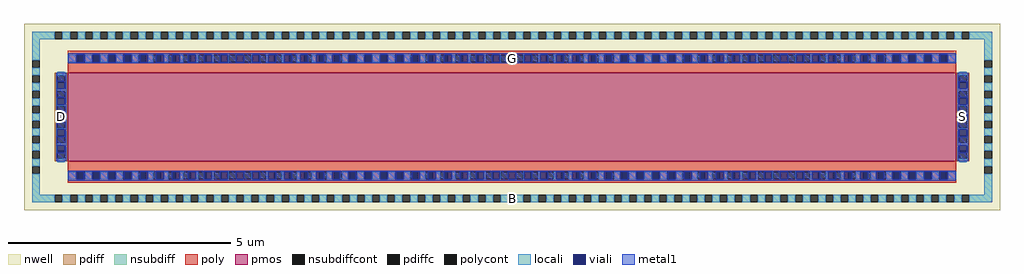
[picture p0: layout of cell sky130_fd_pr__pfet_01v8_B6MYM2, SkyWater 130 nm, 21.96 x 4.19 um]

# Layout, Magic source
magic
tech sky130A
magscale 1 2
<< nwell >>
rect -2196 -419 2196 419
<< pmos >>
rect -2000 -200 2000 200
<< pdiff >>
rect -2058 187 -2000 200
rect -2058 153 -2046 187
rect -2012 153 -2000 187
rect -2058 119 -2000 153
rect -2058 85 -2046 119
rect -2012 85 -2000 119
rect -2058 51 -2000 85
rect -2058 17 -2046 51
rect -2012 17 -2000 51
rect -2058 -17 -2000 17
rect -2058 -51 -2046 -17
rect -2012 -51 -2000 -17
rect -2058 -85 -2000 -51
rect -2058 -119 -2046 -85
rect -2012 -119 -2000 -85
rect -2058 -153 -2000 -119
rect -2058 -187 -2046 -153
rect -2012 -187 -2000 -153
rect -2058 -200 -2000 -187
rect 2000 187 2058 200
rect 2000 153 2012 187
rect 2046 153 2058 187
rect 2000 119 2058 153
rect 2000 85 2012 119
rect 2046 85 2058 119
rect 2000 51 2058 85
rect 2000 17 2012 51
rect 2046 17 2058 51
rect 2000 -17 2058 17
rect 2000 -51 2012 -17
rect 2046 -51 2058 -17
rect 2000 -85 2058 -51
rect 2000 -119 2012 -85
rect 2046 -119 2058 -85
rect 2000 -153 2058 -119
rect 2000 -187 2012 -153
rect 2046 -187 2058 -153
rect 2000 -200 2058 -187
<< pdiffc >>
rect -2046 153 -2012 187
rect -2046 85 -2012 119
rect -2046 17 -2012 51
rect -2046 -51 -2012 -17
rect -2046 -119 -2012 -85
rect -2046 -187 -2012 -153
rect 2012 153 2046 187
rect 2012 85 2046 119
rect 2012 17 2046 51
rect 2012 -51 2046 -17
rect 2012 -119 2046 -85
rect 2012 -187 2046 -153
<< nsubdiff >>
rect -2160 349 -2057 383
rect -2023 349 -1989 383
rect -1955 349 -1921 383
rect -1887 349 -1853 383
rect -1819 349 -1785 383
rect -1751 349 -1717 383
rect -1683 349 -1649 383
rect -1615 349 -1581 383
rect -1547 349 -1513 383
rect -1479 349 -1445 383
rect -1411 349 -1377 383
rect -1343 349 -1309 383
rect -1275 349 -1241 383
rect -1207 349 -1173 383
rect -1139 349 -1105 383
rect -1071 349 -1037 383
rect -1003 349 -969 383
rect -935 349 -901 383
rect -867 349 -833 383
rect -799 349 -765 383
rect -731 349 -697 383
rect -663 349 -629 383
rect -595 349 -561 383
rect -527 349 -493 383
rect -459 349 -425 383
rect -391 349 -357 383
rect -323 349 -289 383
rect -255 349 -221 383
rect -187 349 -153 383
rect -119 349 -85 383
rect -51 349 -17 383
rect 17 349 51 383
rect 85 349 119 383
rect 153 349 187 383
rect 221 349 255 383
rect 289 349 323 383
rect 357 349 391 383
rect 425 349 459 383
rect 493 349 527 383
rect 561 349 595 383
rect 629 349 663 383
rect 697 349 731 383
rect 765 349 799 383
rect 833 349 867 383
rect 901 349 935 383
rect 969 349 1003 383
rect 1037 349 1071 383
rect 1105 349 1139 383
rect 1173 349 1207 383
rect 1241 349 1275 383
rect 1309 349 1343 383
rect 1377 349 1411 383
rect 1445 349 1479 383
rect 1513 349 1547 383
rect 1581 349 1615 383
rect 1649 349 1683 383
rect 1717 349 1751 383
rect 1785 349 1819 383
rect 1853 349 1887 383
rect 1921 349 1955 383
rect 1989 349 2023 383
rect 2057 349 2160 383
rect -2160 255 -2126 349
rect -2160 187 -2126 221
rect 2126 255 2160 349
rect -2160 119 -2126 153
rect -2160 51 -2126 85
rect -2160 -17 -2126 17
rect -2160 -85 -2126 -51
rect -2160 -153 -2126 -119
rect -2160 -221 -2126 -187
rect 2126 187 2160 221
rect 2126 119 2160 153
rect 2126 51 2160 85
rect 2126 -17 2160 17
rect 2126 -85 2160 -51
rect 2126 -153 2160 -119
rect -2160 -349 -2126 -255
rect 2126 -221 2160 -187
rect 2126 -349 2160 -255
rect -2160 -383 -2057 -349
rect -2023 -383 -1989 -349
rect -1955 -383 -1921 -349
rect -1887 -383 -1853 -349
rect -1819 -383 -1785 -349
rect -1751 -383 -1717 -349
rect -1683 -383 -1649 -349
rect -1615 -383 -1581 -349
rect -1547 -383 -1513 -349
rect -1479 -383 -1445 -349
rect -1411 -383 -1377 -349
rect -1343 -383 -1309 -349
rect -1275 -383 -1241 -349
rect -1207 -383 -1173 -349
rect -1139 -383 -1105 -349
rect -1071 -383 -1037 -349
rect -1003 -383 -969 -349
rect -935 -383 -901 -349
rect -867 -383 -833 -349
rect -799 -383 -765 -349
rect -731 -383 -697 -349
rect -663 -383 -629 -349
rect -595 -383 -561 -349
rect -527 -383 -493 -349
rect -459 -383 -425 -349
rect -391 -383 -357 -349
rect -323 -383 -289 -349
rect -255 -383 -221 -349
rect -187 -383 -153 -349
rect -119 -383 -85 -349
rect -51 -383 -17 -349
rect 17 -383 51 -349
rect 85 -383 119 -349
rect 153 -383 187 -349
rect 221 -383 255 -349
rect 289 -383 323 -349
rect 357 -383 391 -349
rect 425 -383 459 -349
rect 493 -383 527 -349
rect 561 -383 595 -349
rect 629 -383 663 -349
rect 697 -383 731 -349
rect 765 -383 799 -349
rect 833 -383 867 -349
rect 901 -383 935 -349
rect 969 -383 1003 -349
rect 1037 -383 1071 -349
rect 1105 -383 1139 -349
rect 1173 -383 1207 -349
rect 1241 -383 1275 -349
rect 1309 -383 1343 -349
rect 1377 -383 1411 -349
rect 1445 -383 1479 -349
rect 1513 -383 1547 -349
rect 1581 -383 1615 -349
rect 1649 -383 1683 -349
rect 1717 -383 1751 -349
rect 1785 -383 1819 -349
rect 1853 -383 1887 -349
rect 1921 -383 1955 -349
rect 1989 -383 2023 -349
rect 2057 -383 2160 -349
<< nsubdiffcont >>
rect -2057 349 -2023 383
rect -1989 349 -1955 383
rect -1921 349 -1887 383
rect -1853 349 -1819 383
rect -1785 349 -1751 383
rect -1717 349 -1683 383
rect -1649 349 -1615 383
rect -1581 349 -1547 383
rect -1513 349 -1479 383
rect -1445 349 -1411 383
rect -1377 349 -1343 383
rect -1309 349 -1275 383
rect -1241 349 -1207 383
rect -1173 349 -1139 383
rect -1105 349 -1071 383
rect -1037 349 -1003 383
rect -969 349 -935 383
rect -901 349 -867 383
rect -833 349 -799 383
rect -765 349 -731 383
rect -697 349 -663 383
rect -629 349 -595 383
rect -561 349 -527 383
rect -493 349 -459 383
rect -425 349 -391 383
rect -357 349 -323 383
rect -289 349 -255 383
rect -221 349 -187 383
rect -153 349 -119 383
rect -85 349 -51 383
rect -17 349 17 383
rect 51 349 85 383
rect 119 349 153 383
rect 187 349 221 383
rect 255 349 289 383
rect 323 349 357 383
rect 391 349 425 383
rect 459 349 493 383
rect 527 349 561 383
rect 595 349 629 383
rect 663 349 697 383
rect 731 349 765 383
rect 799 349 833 383
rect 867 349 901 383
rect 935 349 969 383
rect 1003 349 1037 383
rect 1071 349 1105 383
rect 1139 349 1173 383
rect 1207 349 1241 383
rect 1275 349 1309 383
rect 1343 349 1377 383
rect 1411 349 1445 383
rect 1479 349 1513 383
rect 1547 349 1581 383
rect 1615 349 1649 383
rect 1683 349 1717 383
rect 1751 349 1785 383
rect 1819 349 1853 383
rect 1887 349 1921 383
rect 1955 349 1989 383
rect 2023 349 2057 383
rect -2160 221 -2126 255
rect 2126 221 2160 255
rect -2160 153 -2126 187
rect -2160 85 -2126 119
rect -2160 17 -2126 51
rect -2160 -51 -2126 -17
rect -2160 -119 -2126 -85
rect -2160 -187 -2126 -153
rect 2126 153 2160 187
rect 2126 85 2160 119
rect 2126 17 2160 51
rect 2126 -51 2160 -17
rect 2126 -119 2160 -85
rect 2126 -187 2160 -153
rect -2160 -255 -2126 -221
rect 2126 -255 2160 -221
rect -2057 -383 -2023 -349
rect -1989 -383 -1955 -349
rect -1921 -383 -1887 -349
rect -1853 -383 -1819 -349
rect -1785 -383 -1751 -349
rect -1717 -383 -1683 -349
rect -1649 -383 -1615 -349
rect -1581 -383 -1547 -349
rect -1513 -383 -1479 -349
rect -1445 -383 -1411 -349
rect -1377 -383 -1343 -349
rect -1309 -383 -1275 -349
rect -1241 -383 -1207 -349
rect -1173 -383 -1139 -349
rect -1105 -383 -1071 -349
rect -1037 -383 -1003 -349
rect -969 -383 -935 -349
rect -901 -383 -867 -349
rect -833 -383 -799 -349
rect -765 -383 -731 -349
rect -697 -383 -663 -349
rect -629 -383 -595 -349
rect -561 -383 -527 -349
rect -493 -383 -459 -349
rect -425 -383 -391 -349
rect -357 -383 -323 -349
rect -289 -383 -255 -349
rect -221 -383 -187 -349
rect -153 -383 -119 -349
rect -85 -383 -51 -349
rect -17 -383 17 -349
rect 51 -383 85 -349
rect 119 -383 153 -349
rect 187 -383 221 -349
rect 255 -383 289 -349
rect 323 -383 357 -349
rect 391 -383 425 -349
rect 459 -383 493 -349
rect 527 -383 561 -349
rect 595 -383 629 -349
rect 663 -383 697 -349
rect 731 -383 765 -349
rect 799 -383 833 -349
rect 867 -383 901 -349
rect 935 -383 969 -349
rect 1003 -383 1037 -349
rect 1071 -383 1105 -349
rect 1139 -383 1173 -349
rect 1207 -383 1241 -349
rect 1275 -383 1309 -349
rect 1343 -383 1377 -349
rect 1411 -383 1445 -349
rect 1479 -383 1513 -349
rect 1547 -383 1581 -349
rect 1615 -383 1649 -349
rect 1683 -383 1717 -349
rect 1751 -383 1785 -349
rect 1819 -383 1853 -349
rect 1887 -383 1921 -349
rect 1955 -383 1989 -349
rect 2023 -383 2057 -349
<< poly >>
rect -2000 281 2000 297
rect -2000 247 -1955 281
rect -1921 247 -1887 281
rect -1853 247 -1819 281
rect -1785 247 -1751 281
rect -1717 247 -1683 281
rect -1649 247 -1615 281
rect -1581 247 -1547 281
rect -1513 247 -1479 281
rect -1445 247 -1411 281
rect -1377 247 -1343 281
rect -1309 247 -1275 281
rect -1241 247 -1207 281
rect -1173 247 -1139 281
rect -1105 247 -1071 281
rect -1037 247 -1003 281
rect -969 247 -935 281
rect -901 247 -867 281
rect -833 247 -799 281
rect -765 247 -731 281
rect -697 247 -663 281
rect -629 247 -595 281
rect -561 247 -527 281
rect -493 247 -459 281
rect -425 247 -391 281
rect -357 247 -323 281
rect -289 247 -255 281
rect -221 247 -187 281
rect -153 247 -119 281
rect -85 247 -51 281
rect -17 247 17 281
rect 51 247 85 281
rect 119 247 153 281
rect 187 247 221 281
rect 255 247 289 281
rect 323 247 357 281
rect 391 247 425 281
rect 459 247 493 281
rect 527 247 561 281
rect 595 247 629 281
rect 663 247 697 281
rect 731 247 765 281
rect 799 247 833 281
rect 867 247 901 281
rect 935 247 969 281
rect 1003 247 1037 281
rect 1071 247 1105 281
rect 1139 247 1173 281
rect 1207 247 1241 281
rect 1275 247 1309 281
rect 1343 247 1377 281
rect 1411 247 1445 281
rect 1479 247 1513 281
rect 1547 247 1581 281
rect 1615 247 1649 281
rect 1683 247 1717 281
rect 1751 247 1785 281
rect 1819 247 1853 281
rect 1887 247 1921 281
rect 1955 247 2000 281
rect -2000 200 2000 247
rect -2000 -247 2000 -200
rect -2000 -281 -1955 -247
rect -1921 -281 -1887 -247
rect -1853 -281 -1819 -247
rect -1785 -281 -1751 -247
rect -1717 -281 -1683 -247
rect -1649 -281 -1615 -247
rect -1581 -281 -1547 -247
rect -1513 -281 -1479 -247
rect -1445 -281 -1411 -247
rect -1377 -281 -1343 -247
rect -1309 -281 -1275 -247
rect -1241 -281 -1207 -247
rect -1173 -281 -1139 -247
rect -1105 -281 -1071 -247
rect -1037 -281 -1003 -247
rect -969 -281 -935 -247
rect -901 -281 -867 -247
rect -833 -281 -799 -247
rect -765 -281 -731 -247
rect -697 -281 -663 -247
rect -629 -281 -595 -247
rect -561 -281 -527 -247
rect -493 -281 -459 -247
rect -425 -281 -391 -247
rect -357 -281 -323 -247
rect -289 -281 -255 -247
rect -221 -281 -187 -247
rect -153 -281 -119 -247
rect -85 -281 -51 -247
rect -17 -281 17 -247
rect 51 -281 85 -247
rect 119 -281 153 -247
rect 187 -281 221 -247
rect 255 -281 289 -247
rect 323 -281 357 -247
rect 391 -281 425 -247
rect 459 -281 493 -247
rect 527 -281 561 -247
rect 595 -281 629 -247
rect 663 -281 697 -247
rect 731 -281 765 -247
rect 799 -281 833 -247
rect 867 -281 901 -247
rect 935 -281 969 -247
rect 1003 -281 1037 -247
rect 1071 -281 1105 -247
rect 1139 -281 1173 -247
rect 1207 -281 1241 -247
rect 1275 -281 1309 -247
rect 1343 -281 1377 -247
rect 1411 -281 1445 -247
rect 1479 -281 1513 -247
rect 1547 -281 1581 -247
rect 1615 -281 1649 -247
rect 1683 -281 1717 -247
rect 1751 -281 1785 -247
rect 1819 -281 1853 -247
rect 1887 -281 1921 -247
rect 1955 -281 2000 -247
rect -2000 -297 2000 -281
<< polycont >>
rect -1955 247 -1921 281
rect -1887 247 -1853 281
rect -1819 247 -1785 281
rect -1751 247 -1717 281
rect -1683 247 -1649 281
rect -1615 247 -1581 281
rect -1547 247 -1513 281
rect -1479 247 -1445 281
rect -1411 247 -1377 281
rect -1343 247 -1309 281
rect -1275 247 -1241 281
rect -1207 247 -1173 281
rect -1139 247 -1105 281
rect -1071 247 -1037 281
rect -1003 247 -969 281
rect -935 247 -901 281
rect -867 247 -833 281
rect -799 247 -765 281
rect -731 247 -697 281
rect -663 247 -629 281
rect -595 247 -561 281
rect -527 247 -493 281
rect -459 247 -425 281
rect -391 247 -357 281
rect -323 247 -289 281
rect -255 247 -221 281
rect -187 247 -153 281
rect -119 247 -85 281
rect -51 247 -17 281
rect 17 247 51 281
rect 85 247 119 281
rect 153 247 187 281
rect 221 247 255 281
rect 289 247 323 281
rect 357 247 391 281
rect 425 247 459 281
rect 493 247 527 281
rect 561 247 595 281
rect 629 247 663 281
rect 697 247 731 281
rect 765 247 799 281
rect 833 247 867 281
rect 901 247 935 281
rect 969 247 1003 281
rect 1037 247 1071 281
rect 1105 247 1139 281
rect 1173 247 1207 281
rect 1241 247 1275 281
rect 1309 247 1343 281
rect 1377 247 1411 281
rect 1445 247 1479 281
rect 1513 247 1547 281
rect 1581 247 1615 281
rect 1649 247 1683 281
rect 1717 247 1751 281
rect 1785 247 1819 281
rect 1853 247 1887 281
rect 1921 247 1955 281
rect -1955 -281 -1921 -247
rect -1887 -281 -1853 -247
rect -1819 -281 -1785 -247
rect -1751 -281 -1717 -247
rect -1683 -281 -1649 -247
rect -1615 -281 -1581 -247
rect -1547 -281 -1513 -247
rect -1479 -281 -1445 -247
rect -1411 -281 -1377 -247
rect -1343 -281 -1309 -247
rect -1275 -281 -1241 -247
rect -1207 -281 -1173 -247
rect -1139 -281 -1105 -247
rect -1071 -281 -1037 -247
rect -1003 -281 -969 -247
rect -935 -281 -901 -247
rect -867 -281 -833 -247
rect -799 -281 -765 -247
rect -731 -281 -697 -247
rect -663 -281 -629 -247
rect -595 -281 -561 -247
rect -527 -281 -493 -247
rect -459 -281 -425 -247
rect -391 -281 -357 -247
rect -323 -281 -289 -247
rect -255 -281 -221 -247
rect -187 -281 -153 -247
rect -119 -281 -85 -247
rect -51 -281 -17 -247
rect 17 -281 51 -247
rect 85 -281 119 -247
rect 153 -281 187 -247
rect 221 -281 255 -247
rect 289 -281 323 -247
rect 357 -281 391 -247
rect 425 -281 459 -247
rect 493 -281 527 -247
rect 561 -281 595 -247
rect 629 -281 663 -247
rect 697 -281 731 -247
rect 765 -281 799 -247
rect 833 -281 867 -247
rect 901 -281 935 -247
rect 969 -281 1003 -247
rect 1037 -281 1071 -247
rect 1105 -281 1139 -247
rect 1173 -281 1207 -247
rect 1241 -281 1275 -247
rect 1309 -281 1343 -247
rect 1377 -281 1411 -247
rect 1445 -281 1479 -247
rect 1513 -281 1547 -247
rect 1581 -281 1615 -247
rect 1649 -281 1683 -247
rect 1717 -281 1751 -247
rect 1785 -281 1819 -247
rect 1853 -281 1887 -247
rect 1921 -281 1955 -247
<< locali >>
rect -2160 349 -2057 383
rect -2023 349 -1989 383
rect -1955 349 -1921 383
rect -1887 349 -1853 383
rect -1819 349 -1785 383
rect -1751 349 -1717 383
rect -1683 349 -1649 383
rect -1615 349 -1581 383
rect -1547 349 -1513 383
rect -1479 349 -1445 383
rect -1411 349 -1377 383
rect -1343 349 -1309 383
rect -1275 349 -1241 383
rect -1207 349 -1173 383
rect -1139 349 -1105 383
rect -1071 349 -1037 383
rect -1003 349 -969 383
rect -935 349 -901 383
rect -867 349 -833 383
rect -799 349 -765 383
rect -731 349 -697 383
rect -663 349 -629 383
rect -595 349 -561 383
rect -527 349 -493 383
rect -459 349 -425 383
rect -391 349 -357 383
rect -323 349 -289 383
rect -255 349 -221 383
rect -187 349 -153 383
rect -119 349 -85 383
rect -51 349 -17 383
rect 17 349 51 383
rect 85 349 119 383
rect 153 349 187 383
rect 221 349 255 383
rect 289 349 323 383
rect 357 349 391 383
rect 425 349 459 383
rect 493 349 527 383
rect 561 349 595 383
rect 629 349 663 383
rect 697 349 731 383
rect 765 349 799 383
rect 833 349 867 383
rect 901 349 935 383
rect 969 349 1003 383
rect 1037 349 1071 383
rect 1105 349 1139 383
rect 1173 349 1207 383
rect 1241 349 1275 383
rect 1309 349 1343 383
rect 1377 349 1411 383
rect 1445 349 1479 383
rect 1513 349 1547 383
rect 1581 349 1615 383
rect 1649 349 1683 383
rect 1717 349 1751 383
rect 1785 349 1819 383
rect 1853 349 1887 383
rect 1921 349 1955 383
rect 1989 349 2023 383
rect 2057 349 2160 383
rect -2160 255 -2126 349
rect -2000 247 -1961 281
rect -1921 247 -1889 281
rect -1853 247 -1819 281
rect -1783 247 -1751 281
rect -1711 247 -1683 281
rect -1639 247 -1615 281
rect -1567 247 -1547 281
rect -1495 247 -1479 281
rect -1423 247 -1411 281
rect -1351 247 -1343 281
rect -1279 247 -1275 281
rect -1173 247 -1169 281
rect -1105 247 -1097 281
rect -1037 247 -1025 281
rect -969 247 -953 281
rect -901 247 -881 281
rect -833 247 -809 281
rect -765 247 -737 281
rect -697 247 -665 281
rect -629 247 -595 281
rect -559 247 -527 281
rect -487 247 -459 281
rect -415 247 -391 281
rect -343 247 -323 281
rect -271 247 -255 281
rect -199 247 -187 281
rect -127 247 -119 281
rect -55 247 -51 281
rect 51 247 55 281
rect 119 247 127 281
rect 187 247 199 281
rect 255 247 271 281
rect 323 247 343 281
rect 391 247 415 281
rect 459 247 487 281
rect 527 247 559 281
rect 595 247 629 281
rect 665 247 697 281
rect 737 247 765 281
rect 809 247 833 281
rect 881 247 901 281
rect 953 247 969 281
rect 1025 247 1037 281
rect 1097 247 1105 281
rect 1169 247 1173 281
rect 1275 247 1279 281
rect 1343 247 1351 281
rect 1411 247 1423 281
rect 1479 247 1495 281
rect 1547 247 1567 281
rect 1615 247 1639 281
rect 1683 247 1711 281
rect 1751 247 1783 281
rect 1819 247 1853 281
rect 1889 247 1921 281
rect 1961 247 2000 281
rect 2126 255 2160 349
rect -2160 187 -2126 221
rect -2160 119 -2126 153
rect -2160 51 -2126 85
rect -2160 -17 -2126 17
rect -2160 -85 -2126 -51
rect -2160 -153 -2126 -119
rect -2160 -221 -2126 -187
rect -2046 187 -2012 204
rect -2046 119 -2012 127
rect -2046 51 -2012 55
rect -2046 -55 -2012 -51
rect -2046 -127 -2012 -119
rect -2046 -204 -2012 -187
rect 2012 187 2046 204
rect 2012 119 2046 127
rect 2012 51 2046 55
rect 2012 -55 2046 -51
rect 2012 -127 2046 -119
rect 2012 -204 2046 -187
rect 2126 187 2160 221
rect 2126 119 2160 153
rect 2126 51 2160 85
rect 2126 -17 2160 17
rect 2126 -85 2160 -51
rect 2126 -153 2160 -119
rect 2126 -221 2160 -187
rect -2160 -349 -2126 -255
rect -2000 -281 -1961 -247
rect -1921 -281 -1889 -247
rect -1853 -281 -1819 -247
rect -1783 -281 -1751 -247
rect -1711 -281 -1683 -247
rect -1639 -281 -1615 -247
rect -1567 -281 -1547 -247
rect -1495 -281 -1479 -247
rect -1423 -281 -1411 -247
rect -1351 -281 -1343 -247
rect -1279 -281 -1275 -247
rect -1173 -281 -1169 -247
rect -1105 -281 -1097 -247
rect -1037 -281 -1025 -247
rect -969 -281 -953 -247
rect -901 -281 -881 -247
rect -833 -281 -809 -247
rect -765 -281 -737 -247
rect -697 -281 -665 -247
rect -629 -281 -595 -247
rect -559 -281 -527 -247
rect -487 -281 -459 -247
rect -415 -281 -391 -247
rect -343 -281 -323 -247
rect -271 -281 -255 -247
rect -199 -281 -187 -247
rect -127 -281 -119 -247
rect -55 -281 -51 -247
rect 51 -281 55 -247
rect 119 -281 127 -247
rect 187 -281 199 -247
rect 255 -281 271 -247
rect 323 -281 343 -247
rect 391 -281 415 -247
rect 459 -281 487 -247
rect 527 -281 559 -247
rect 595 -281 629 -247
rect 665 -281 697 -247
rect 737 -281 765 -247
rect 809 -281 833 -247
rect 881 -281 901 -247
rect 953 -281 969 -247
rect 1025 -281 1037 -247
rect 1097 -281 1105 -247
rect 1169 -281 1173 -247
rect 1275 -281 1279 -247
rect 1343 -281 1351 -247
rect 1411 -281 1423 -247
rect 1479 -281 1495 -247
rect 1547 -281 1567 -247
rect 1615 -281 1639 -247
rect 1683 -281 1711 -247
rect 1751 -281 1783 -247
rect 1819 -281 1853 -247
rect 1889 -281 1921 -247
rect 1961 -281 2000 -247
rect 2126 -349 2160 -255
rect -2160 -383 -2057 -349
rect -2023 -383 -1989 -349
rect -1955 -383 -1921 -349
rect -1887 -383 -1853 -349
rect -1819 -383 -1785 -349
rect -1751 -383 -1717 -349
rect -1683 -383 -1649 -349
rect -1615 -383 -1581 -349
rect -1547 -383 -1513 -349
rect -1479 -383 -1445 -349
rect -1411 -383 -1377 -349
rect -1343 -383 -1309 -349
rect -1275 -383 -1241 -349
rect -1207 -383 -1173 -349
rect -1139 -383 -1105 -349
rect -1071 -383 -1037 -349
rect -1003 -383 -969 -349
rect -935 -383 -901 -349
rect -867 -383 -833 -349
rect -799 -383 -765 -349
rect -731 -383 -697 -349
rect -663 -383 -629 -349
rect -595 -383 -561 -349
rect -527 -383 -493 -349
rect -459 -383 -425 -349
rect -391 -383 -357 -349
rect -323 -383 -289 -349
rect -255 -383 -221 -349
rect -187 -383 -153 -349
rect -119 -383 -85 -349
rect -51 -383 -17 -349
rect 17 -383 51 -349
rect 85 -383 119 -349
rect 153 -383 187 -349
rect 221 -383 255 -349
rect 289 -383 323 -349
rect 357 -383 391 -349
rect 425 -383 459 -349
rect 493 -383 527 -349
rect 561 -383 595 -349
rect 629 -383 663 -349
rect 697 -383 731 -349
rect 765 -383 799 -349
rect 833 -383 867 -349
rect 901 -383 935 -349
rect 969 -383 1003 -349
rect 1037 -383 1071 -349
rect 1105 -383 1139 -349
rect 1173 -383 1207 -349
rect 1241 -383 1275 -349
rect 1309 -383 1343 -349
rect 1377 -383 1411 -349
rect 1445 -383 1479 -349
rect 1513 -383 1547 -349
rect 1581 -383 1615 -349
rect 1649 -383 1683 -349
rect 1717 -383 1751 -349
rect 1785 -383 1819 -349
rect 1853 -383 1887 -349
rect 1921 -383 1955 -349
rect 1989 -383 2023 -349
rect 2057 -383 2160 -349
<< viali >>
rect -1961 247 -1955 281
rect -1955 247 -1927 281
rect -1889 247 -1887 281
rect -1887 247 -1855 281
rect -1817 247 -1785 281
rect -1785 247 -1783 281
rect -1745 247 -1717 281
rect -1717 247 -1711 281
rect -1673 247 -1649 281
rect -1649 247 -1639 281
rect -1601 247 -1581 281
rect -1581 247 -1567 281
rect -1529 247 -1513 281
rect -1513 247 -1495 281
rect -1457 247 -1445 281
rect -1445 247 -1423 281
rect -1385 247 -1377 281
rect -1377 247 -1351 281
rect -1313 247 -1309 281
rect -1309 247 -1279 281
rect -1241 247 -1207 281
rect -1169 247 -1139 281
rect -1139 247 -1135 281
rect -1097 247 -1071 281
rect -1071 247 -1063 281
rect -1025 247 -1003 281
rect -1003 247 -991 281
rect -953 247 -935 281
rect -935 247 -919 281
rect -881 247 -867 281
rect -867 247 -847 281
rect -809 247 -799 281
rect -799 247 -775 281
rect -737 247 -731 281
rect -731 247 -703 281
rect -665 247 -663 281
rect -663 247 -631 281
rect -593 247 -561 281
rect -561 247 -559 281
rect -521 247 -493 281
rect -493 247 -487 281
rect -449 247 -425 281
rect -425 247 -415 281
rect -377 247 -357 281
rect -357 247 -343 281
rect -305 247 -289 281
rect -289 247 -271 281
rect -233 247 -221 281
rect -221 247 -199 281
rect -161 247 -153 281
rect -153 247 -127 281
rect -89 247 -85 281
rect -85 247 -55 281
rect -17 247 17 281
rect 55 247 85 281
rect 85 247 89 281
rect 127 247 153 281
rect 153 247 161 281
rect 199 247 221 281
rect 221 247 233 281
rect 271 247 289 281
rect 289 247 305 281
rect 343 247 357 281
rect 357 247 377 281
rect 415 247 425 281
rect 425 247 449 281
rect 487 247 493 281
rect 493 247 521 281
rect 559 247 561 281
rect 561 247 593 281
rect 631 247 663 281
rect 663 247 665 281
rect 703 247 731 281
rect 731 247 737 281
rect 775 247 799 281
rect 799 247 809 281
rect 847 247 867 281
rect 867 247 881 281
rect 919 247 935 281
rect 935 247 953 281
rect 991 247 1003 281
rect 1003 247 1025 281
rect 1063 247 1071 281
rect 1071 247 1097 281
rect 1135 247 1139 281
rect 1139 247 1169 281
rect 1207 247 1241 281
rect 1279 247 1309 281
rect 1309 247 1313 281
rect 1351 247 1377 281
rect 1377 247 1385 281
rect 1423 247 1445 281
rect 1445 247 1457 281
rect 1495 247 1513 281
rect 1513 247 1529 281
rect 1567 247 1581 281
rect 1581 247 1601 281
rect 1639 247 1649 281
rect 1649 247 1673 281
rect 1711 247 1717 281
rect 1717 247 1745 281
rect 1783 247 1785 281
rect 1785 247 1817 281
rect 1855 247 1887 281
rect 1887 247 1889 281
rect 1927 247 1955 281
rect 1955 247 1961 281
rect -2046 153 -2012 161
rect -2046 127 -2012 153
rect -2046 85 -2012 89
rect -2046 55 -2012 85
rect -2046 -17 -2012 17
rect -2046 -85 -2012 -55
rect -2046 -89 -2012 -85
rect -2046 -153 -2012 -127
rect -2046 -161 -2012 -153
rect 2012 153 2046 161
rect 2012 127 2046 153
rect 2012 85 2046 89
rect 2012 55 2046 85
rect 2012 -17 2046 17
rect 2012 -85 2046 -55
rect 2012 -89 2046 -85
rect 2012 -153 2046 -127
rect 2012 -161 2046 -153
rect -1961 -281 -1955 -247
rect -1955 -281 -1927 -247
rect -1889 -281 -1887 -247
rect -1887 -281 -1855 -247
rect -1817 -281 -1785 -247
rect -1785 -281 -1783 -247
rect -1745 -281 -1717 -247
rect -1717 -281 -1711 -247
rect -1673 -281 -1649 -247
rect -1649 -281 -1639 -247
rect -1601 -281 -1581 -247
rect -1581 -281 -1567 -247
rect -1529 -281 -1513 -247
rect -1513 -281 -1495 -247
rect -1457 -281 -1445 -247
rect -1445 -281 -1423 -247
rect -1385 -281 -1377 -247
rect -1377 -281 -1351 -247
rect -1313 -281 -1309 -247
rect -1309 -281 -1279 -247
rect -1241 -281 -1207 -247
rect -1169 -281 -1139 -247
rect -1139 -281 -1135 -247
rect -1097 -281 -1071 -247
rect -1071 -281 -1063 -247
rect -1025 -281 -1003 -247
rect -1003 -281 -991 -247
rect -953 -281 -935 -247
rect -935 -281 -919 -247
rect -881 -281 -867 -247
rect -867 -281 -847 -247
rect -809 -281 -799 -247
rect -799 -281 -775 -247
rect -737 -281 -731 -247
rect -731 -281 -703 -247
rect -665 -281 -663 -247
rect -663 -281 -631 -247
rect -593 -281 -561 -247
rect -561 -281 -559 -247
rect -521 -281 -493 -247
rect -493 -281 -487 -247
rect -449 -281 -425 -247
rect -425 -281 -415 -247
rect -377 -281 -357 -247
rect -357 -281 -343 -247
rect -305 -281 -289 -247
rect -289 -281 -271 -247
rect -233 -281 -221 -247
rect -221 -281 -199 -247
rect -161 -281 -153 -247
rect -153 -281 -127 -247
rect -89 -281 -85 -247
rect -85 -281 -55 -247
rect -17 -281 17 -247
rect 55 -281 85 -247
rect 85 -281 89 -247
rect 127 -281 153 -247
rect 153 -281 161 -247
rect 199 -281 221 -247
rect 221 -281 233 -247
rect 271 -281 289 -247
rect 289 -281 305 -247
rect 343 -281 357 -247
rect 357 -281 377 -247
rect 415 -281 425 -247
rect 425 -281 449 -247
rect 487 -281 493 -247
rect 493 -281 521 -247
rect 559 -281 561 -247
rect 561 -281 593 -247
rect 631 -281 663 -247
rect 663 -281 665 -247
rect 703 -281 731 -247
rect 731 -281 737 -247
rect 775 -281 799 -247
rect 799 -281 809 -247
rect 847 -281 867 -247
rect 867 -281 881 -247
rect 919 -281 935 -247
rect 935 -281 953 -247
rect 991 -281 1003 -247
rect 1003 -281 1025 -247
rect 1063 -281 1071 -247
rect 1071 -281 1097 -247
rect 1135 -281 1139 -247
rect 1139 -281 1169 -247
rect 1207 -281 1241 -247
rect 1279 -281 1309 -247
rect 1309 -281 1313 -247
rect 1351 -281 1377 -247
rect 1377 -281 1385 -247
rect 1423 -281 1445 -247
rect 1445 -281 1457 -247
rect 1495 -281 1513 -247
rect 1513 -281 1529 -247
rect 1567 -281 1581 -247
rect 1581 -281 1601 -247
rect 1639 -281 1649 -247
rect 1649 -281 1673 -247
rect 1711 -281 1717 -247
rect 1717 -281 1745 -247
rect 1783 -281 1785 -247
rect 1785 -281 1817 -247
rect 1855 -281 1887 -247
rect 1887 -281 1889 -247
rect 1927 -281 1955 -247
rect 1955 -281 1961 -247
<< metal1 >>
rect -1996 281 1996 287
rect -1996 247 -1961 281
rect -1927 247 -1889 281
rect -1855 247 -1817 281
rect -1783 247 -1745 281
rect -1711 247 -1673 281
rect -1639 247 -1601 281
rect -1567 247 -1529 281
rect -1495 247 -1457 281
rect -1423 247 -1385 281
rect -1351 247 -1313 281
rect -1279 247 -1241 281
rect -1207 247 -1169 281
rect -1135 247 -1097 281
rect -1063 247 -1025 281
rect -991 247 -953 281
rect -919 247 -881 281
rect -847 247 -809 281
rect -775 247 -737 281
rect -703 247 -665 281
rect -631 247 -593 281
rect -559 247 -521 281
rect -487 247 -449 281
rect -415 247 -377 281
rect -343 247 -305 281
rect -271 247 -233 281
rect -199 247 -161 281
rect -127 247 -89 281
rect -55 247 -17 281
rect 17 247 55 281
rect 89 247 127 281
rect 161 247 199 281
rect 233 247 271 281
rect 305 247 343 281
rect 377 247 415 281
rect 449 247 487 281
rect 521 247 559 281
rect 593 247 631 281
rect 665 247 703 281
rect 737 247 775 281
rect 809 247 847 281
rect 881 247 919 281
rect 953 247 991 281
rect 1025 247 1063 281
rect 1097 247 1135 281
rect 1169 247 1207 281
rect 1241 247 1279 281
rect 1313 247 1351 281
rect 1385 247 1423 281
rect 1457 247 1495 281
rect 1529 247 1567 281
rect 1601 247 1639 281
rect 1673 247 1711 281
rect 1745 247 1783 281
rect 1817 247 1855 281
rect 1889 247 1927 281
rect 1961 247 1996 281
rect -1996 241 1996 247
rect -2052 161 -2006 200
rect -2052 127 -2046 161
rect -2012 127 -2006 161
rect -2052 89 -2006 127
rect -2052 55 -2046 89
rect -2012 55 -2006 89
rect -2052 17 -2006 55
rect -2052 -17 -2046 17
rect -2012 -17 -2006 17
rect -2052 -55 -2006 -17
rect -2052 -89 -2046 -55
rect -2012 -89 -2006 -55
rect -2052 -127 -2006 -89
rect -2052 -161 -2046 -127
rect -2012 -161 -2006 -127
rect -2052 -200 -2006 -161
rect 2006 161 2052 200
rect 2006 127 2012 161
rect 2046 127 2052 161
rect 2006 89 2052 127
rect 2006 55 2012 89
rect 2046 55 2052 89
rect 2006 17 2052 55
rect 2006 -17 2012 17
rect 2046 -17 2052 17
rect 2006 -55 2052 -17
rect 2006 -89 2012 -55
rect 2046 -89 2052 -55
rect 2006 -127 2052 -89
rect 2006 -161 2012 -127
rect 2046 -161 2052 -127
rect 2006 -200 2052 -161
rect -1996 -247 1996 -241
rect -1996 -281 -1961 -247
rect -1927 -281 -1889 -247
rect -1855 -281 -1817 -247
rect -1783 -281 -1745 -247
rect -1711 -281 -1673 -247
rect -1639 -281 -1601 -247
rect -1567 -281 -1529 -247
rect -1495 -281 -1457 -247
rect -1423 -281 -1385 -247
rect -1351 -281 -1313 -247
rect -1279 -281 -1241 -247
rect -1207 -281 -1169 -247
rect -1135 -281 -1097 -247
rect -1063 -281 -1025 -247
rect -991 -281 -953 -247
rect -919 -281 -881 -247
rect -847 -281 -809 -247
rect -775 -281 -737 -247
rect -703 -281 -665 -247
rect -631 -281 -593 -247
rect -559 -281 -521 -247
rect -487 -281 -449 -247
rect -415 -281 -377 -247
rect -343 -281 -305 -247
rect -271 -281 -233 -247
rect -199 -281 -161 -247
rect -127 -281 -89 -247
rect -55 -281 -17 -247
rect 17 -281 55 -247
rect 89 -281 127 -247
rect 161 -281 199 -247
rect 233 -281 271 -247
rect 305 -281 343 -247
rect 377 -281 415 -247
rect 449 -281 487 -247
rect 521 -281 559 -247
rect 593 -281 631 -247
rect 665 -281 703 -247
rect 737 -281 775 -247
rect 809 -281 847 -247
rect 881 -281 919 -247
rect 953 -281 991 -247
rect 1025 -281 1063 -247
rect 1097 -281 1135 -247
rect 1169 -281 1207 -247
rect 1241 -281 1279 -247
rect 1313 -281 1351 -247
rect 1385 -281 1423 -247
rect 1457 -281 1495 -247
rect 1529 -281 1567 -247
rect 1601 -281 1639 -247
rect 1673 -281 1711 -247
rect 1745 -281 1783 -247
rect 1817 -281 1855 -247
rect 1889 -281 1927 -247
rect 1961 -281 1996 -247
rect -1996 -287 1996 -281
<< labels >>
rlabel locali s 0 -366 0 -366 4 B
rlabel locali s -2029 0 -2029 0 4 D
rlabel locali s 2029 0 2029 0 4 S
rlabel locali s 0 264 0 264 4 G
<< properties >>
string FIXED_BBOX -2143 -366 2143 366
<< end >>
